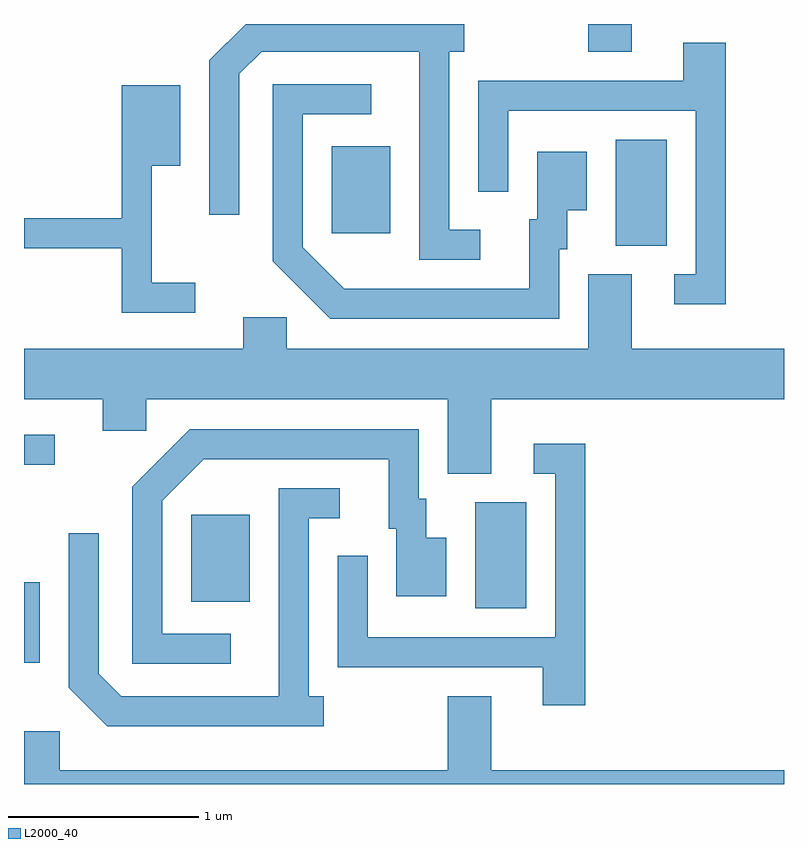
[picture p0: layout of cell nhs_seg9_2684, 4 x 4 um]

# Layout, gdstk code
import gdstk
lib = gdstk.Library(unit=1e-6, precision=1e-09)
def R(c, l, rs):  # rectangles x0, y0, x1, y1
    for r in rs: c.add(gdstk.rectangle(r[:2], r[2:], *l))
def P(c, l, *ps):  # polygons
    for p in ps: c.add(gdstk.Polygon(p, *l))
L2000_40 = (2000, 40)

nhs_seg9_2684 = lib.new_cell('nhs_seg9_2684')
R(nhs_seg9_2684, L2000_40, [(263.611,2017.071,263.694,2017.494), (265.986,2017.356,266.254,2017.914), (264.491,2017.391,264.799,2017.849), (263.611,2018.111,263.773,2018.269), (266.726,2019.266,266.994,2019.824), (265.231,2019.331,265.539,2019.789), (266.581,2020.286,266.809,2020.432)])
P(nhs_seg9_2684, L2000_40, [(266.013,2019.349),(265.849,2019.349),(265.849,2020.286),(265.928,2020.286),(265.928,2020.432),(264.777,2020.432),(264.586,2020.242),(264.586,2019.428),(264.744,2019.428),(264.744,2020.169),(264.862,2020.286),(265.691,2020.286),(265.691,2019.191),(266.013,2019.191)],
  [(267.304,2020.334),(267.081,2020.334),(267.081,2020.134),(266.001,2020.134),(266.001,2019.548),(266.159,2019.548),(266.159,2019.976),(267.146,2019.976),(267.146,2019.114),(267.033,2019.114),(267.033,2018.956),(267.304,2018.956)],
  [(266.429,2019.246),(266.469,2019.246),(266.469,2019.451),(266.574,2019.451),(266.574,2019.759),(266.311,2019.759),(266.311,2019.404),(266.271,2019.404),(266.271,2019.039),(265.297,2019.039),(265.079,2019.257),(265.079,2019.956),(265.438,2019.956),(265.438,2020.114),(264.921,2020.114),(264.921,2019.184),(265.224,2018.881),(266.429,2018.881)],
  [(264.513,2019.069),(264.284,2019.069),(264.284,2019.686),(264.434,2019.686),(264.434,2020.109),(264.126,2020.109),(264.126,2019.409),(263.611,2019.409),(263.611,2019.251),(264.126,2019.251),(264.126,2018.911),(264.513,2018.911)],
  [(266.069,2018.456),(267.611,2018.456),(267.611,2018.724),(266.809,2018.724),(266.809,2019.114),(266.581,2019.114),(266.581,2018.724),(264.994,2018.724),(264.994,2018.889),(264.766,2018.889),(264.766,2018.724),(263.611,2018.724),(263.611,2018.456),(264.026,2018.456),(264.026,2018.291),(264.254,2018.291),(264.254,2018.456),(265.841,2018.456),(265.841,2018.066),(266.069,2018.066)],
  [(264.698,2017.224),(264.339,2017.224),(264.339,2017.924),(264.557,2018.141),(265.531,2018.141),(265.531,2017.776),(265.571,2017.776),(265.571,2017.421),(265.834,2017.421),(265.834,2017.729),(265.729,2017.729),(265.729,2017.934),(265.689,2017.934),(265.689,2018.299),(264.484,2018.299),(264.181,2017.997),(264.181,2017.066),(264.698,2017.066)],
  [(266.564,2018.224),(266.293,2018.224),(266.293,2018.066),(266.406,2018.066),(266.406,2017.204),(265.419,2017.204),(265.419,2017.633),(265.261,2017.633),(265.261,2017.046),(266.341,2017.046),(266.341,2016.846),(266.564,2016.846)],
  [(265.188,2016.894),(265.109,2016.894),(265.109,2017.831),(265.273,2017.831),(265.273,2017.989),(264.951,2017.989),(264.951,2016.894),(264.122,2016.894),(264.004,2017.012),(264.004,2017.753),(263.846,2017.753),(263.846,2016.939),(264.049,2016.736),(265.188,2016.736)],
  [(267.611,2016.504),(266.069,2016.504),(266.069,2016.894),(265.841,2016.894),(265.841,2016.504),(263.799,2016.504),(263.799,2016.709),(263.611,2016.709),(263.611,2016.432),(267.611,2016.432)])

lib.write_gds('nhs_seg9_2684.gds')
